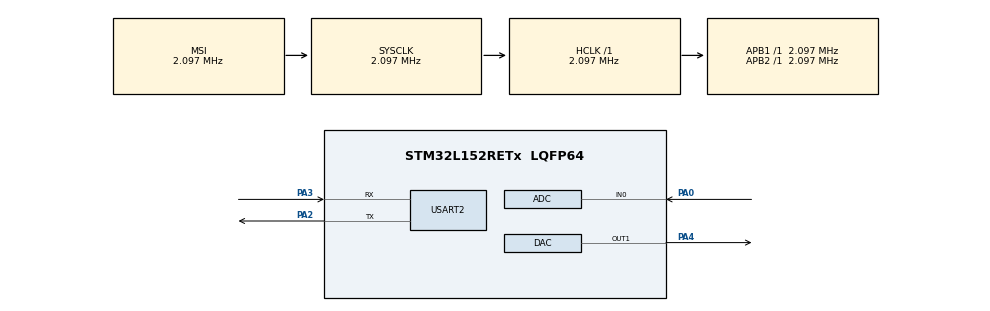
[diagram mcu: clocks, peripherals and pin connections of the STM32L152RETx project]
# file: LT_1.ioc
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ADC.Channel-0\#ChannelRegularConversion=ADC_CHANNEL_0
ADC.ClockPrescaler=ADC_CLOCK_ASYNC_DIV4
ADC.EOCSelection=ADC_EOC_SINGLE_CONV
ADC.NbrOfConversionFlag=1
ADC.Rank-0\#ChannelRegularConversion=1
ADC.Resolution=ADC_RESOLUTION_8B
ADC.SamplingTime-0\#ChannelRegularConversion=ADC_SAMPLETIME_24CYCLES
Mcu.Family=STM32L1
Mcu.Name=STM32L152RETx
Mcu.Package=LQFP64
NVIC.PriorityGroup=NVIC_PRIORITYGROUP_4
PA0-WKUP1.Mode=IN0
PA0-WKUP1.Signal=ADC_IN0
PA2.Mode=Asynchronous
PA2.Signal=USART2_TX
PA3.Mode=Asynchronous
PA3.Signal=USART2_RX
PA4.Signal=COMP_DAC1_group
ProjectManager.HeapSize=0x200
ProjectManager.StackSize=0x400
ProjectManager.TargetToolchain=MDK-ARM V5.27
RCC.AHBFreq_Value=2097000
RCC.APB1Freq_Value=2097000
RCC.APB2Freq_Value=2097000
RCC.HSE_VALUE=24000000
RCC.HSI_VALUE=16000000
RCC.LSE_VALUE=32768
RCC.MSI_VALUE=2097000
RCC.SYSCLKFreq_VALUE=2097000
RCC.VCOOutputFreq_Value=48000000
SH.COMP_DAC1_group.0=DAC_OUT1,DAC_OUT1
USART2.VirtualMode=VM_ASYNC
board=custom

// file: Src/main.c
/* USER CODE BEGIN Header */
/**
  ******************************************************************************
  * @file           : main.c
  * @brief          : Main program body
  ******************************************************************************
  * @attention
  *
  * <h2><center>&copy; Copyright (c) 2020 STMicroelectronics.
  * All rights reserved.</center></h2>
  *
  * This software component is licensed by ST under BSD 3-Clause license,
  * the "License"; You may not use this file except in compliance with the
  * License. You may obtain a copy of the License at:
  *                        opensource.org/licenses/BSD-3-Clause
  *
  ******************************************************************************
  */
/* USER CODE END Header */

#include "main.h"

/* USER CODE BEGIN Includes */
#include <stdio.h>
/* USER CODE END Includes */

ADC_HandleTypeDef hadc;

DAC_HandleTypeDef hdac;

UART_HandleTypeDef huart2;

void SystemClock_Config(void);
static void MX_GPIO_Init(void);
static void MX_ADC_Init(void);
static void MX_USART2_UART_Init(void);
static void MX_DAC_Init(void);
/* USER CODE BEGIN PFP */
char Msg1[70] = {0};
/* USER CODE END PFP */

/* USER CODE BEGIN 0 */
uint32_t adcVal0;
float adcVal1;
uint8_t dac;
uint32_t deltaV;
/* USER CODE END 0 */

int main(void)
{
  /* USER CODE BEGIN 1 */
	deltaV = 3.0;
  /* USER CODE END 1 */

  /* MCU Configuration--------------------------------------------------------*/

  /* Reset of all peripherals, Initializes the Flash interface and the Systick. */
  HAL_Init();

  /* Configure the system clock */
  SystemClock_Config();

  /* Initialize all configured peripherals */
  MX_GPIO_Init();
  MX_ADC_Init();
  MX_USART2_UART_Init();
  MX_DAC_Init();

  /* Infinite loop */
  while (1)
  {

    /* USER CODE BEGIN 3 */
		HAL_ADC_Start(&hadc);
		HAL_DAC_Start(&hdac, DAC_CHANNEL_1);

		if( HAL_ADC_PollForConversion(&hadc,5) == HAL_OK){
			adcVal0 = HAL_ADC_GetValue(&hadc);
		}

		/*
		Assuming output range is from 0 to 3.3 volts
		output = output_start + ((output_end - output_start) / (input_end - input_start)) * (input - input_start)
		*/

		adcVal1 = ((3.3 * (float)adcVal0) / 255) + deltaV;
		if(adcVal1 > 3.3){
			adcVal1 = 3.3;
		}
		//snprintf((char *)Msg1, sizeof(Msg1), "\r\nADC Value: %lf\r\n",  adcVal1);
		//HAL_UART_Transmit(&huart2, (uint8_t *) Msg1, sizeof(Msg1), 1);
		//HAL_DAC_SetValue(&hdac, DAC_CHANNEL_1, DAC_ALIGN_8B_R, adcVal1);
		//convert back from float to uint8_t
		dac = (uint16_t) (adcVal1 * 255) / 3.3;
		HAL_DAC_SetValue(&hdac, DAC_CHANNEL_1, DAC_ALIGN_8B_R, dac);

		//HAL_Delay(50);
  }
  /* USER CODE END 3 */
}

void SystemClock_Config(void)
{
  RCC_OscInitTypeDef RCC_OscInitStruct = {0};
  RCC_ClkInitTypeDef RCC_ClkInitStruct = {0};

  /** Configure the main internal regulator output voltage
  */
  __HAL_PWR_VOLTAGESCALING_CONFIG(PWR_REGULATOR_VOLTAGE_SCALE1);
  /** Initializes the CPU, AHB and APB busses clocks
  */
  RCC_OscInitStruct.OscillatorType = RCC_OSCILLATORTYPE_HSI|RCC_OSCILLATORTYPE_MSI;
  RCC_OscInitStruct.HSIState = RCC_HSI_ON;
  RCC_OscInitStruct.HSICalibrationValue = RCC_HSICALIBRATION_DEFAULT;
  RCC_OscInitStruct.MSIState = RCC_MSI_ON;
  RCC_OscInitStruct.MSICalibrationValue = 0;
  RCC_OscInitStruct.MSIClockRange = RCC_MSIRANGE_5;
  RCC_OscInitStruct.PLL.PLLState = RCC_PLL_NONE;
  if (HAL_RCC_OscConfig(&RCC_OscInitStruct) != HAL_OK)
  {
    Error_Handler();
  }
  /** Initializes the CPU, AHB and APB busses clocks
  */
  RCC_ClkInitStruct.ClockType = RCC_CLOCKTYPE_HCLK|RCC_CLOCKTYPE_SYSCLK
                              |RCC_CLOCKTYPE_PCLK1|RCC_CLOCKTYPE_PCLK2;
  RCC_ClkInitStruct.SYSCLKSource = RCC_SYSCLKSOURCE_MSI;
  RCC_ClkInitStruct.AHBCLKDivider = RCC_SYSCLK_DIV1;
  RCC_ClkInitStruct.APB1CLKDivider = RCC_HCLK_DIV1;
  RCC_ClkInitStruct.APB2CLKDivider = RCC_HCLK_DIV1;

  if (HAL_RCC_ClockConfig(&RCC_ClkInitStruct, FLASH_LATENCY_0) != HAL_OK)
  {
    Error_Handler();
  }
}

static void MX_ADC_Init(void)
{

  ADC_ChannelConfTypeDef sConfig = {0};

  /** Configure the global features of the ADC (Clock, Resolution, Data Alignment and number of conversion)
  */
  hadc.Instance = ADC1;
  hadc.Init.ClockPrescaler = ADC_CLOCK_ASYNC_DIV4;
  hadc.Init.Resolution = ADC_RESOLUTION_8B;
  hadc.Init.DataAlign = ADC_DATAALIGN_RIGHT;
  hadc.Init.ScanConvMode = ADC_SCAN_DISABLE;
  hadc.Init.EOCSelection = ADC_EOC_SINGLE_CONV;
  hadc.Init.LowPowerAutoWait = ADC_AUTOWAIT_DISABLE;
  hadc.Init.LowPowerAutoPowerOff = ADC_AUTOPOWEROFF_DISABLE;
  hadc.Init.ChannelsBank = ADC_CHANNELS_BANK_A;
  hadc.Init.ContinuousConvMode = DISABLE;
  hadc.Init.NbrOfConversion = 1;
  hadc.Init.DiscontinuousConvMode = DISABLE;
  hadc.Init.ExternalTrigConv = ADC_SOFTWARE_START;
  hadc.Init.ExternalTrigConvEdge = ADC_EXTERNALTRIGCONVEDGE_NONE;
  hadc.Init.DMAContinuousRequests = DISABLE;
  if (HAL_ADC_Init(&hadc) != HAL_OK)
  {
    Error_Handler();
  }
  /** Configure for the selected ADC regular channel its corresponding rank in the sequencer and its sample time.
  */
  sConfig.Channel = ADC_CHANNEL_0;
  sConfig.Rank = ADC_REGULAR_RANK_1;
  sConfig.SamplingTime = ADC_SAMPLETIME_24CYCLES;
  if (HAL_ADC_ConfigChannel(&hadc, &sConfig) != HAL_OK)
  {
    Error_Handler();
  }

}

static void MX_DAC_Init(void)
{

  DAC_ChannelConfTypeDef sConfig = {0};

  /** DAC Initialization
  */
  hdac.Instance = DAC;
  if (HAL_DAC_Init(&hdac) != HAL_OK)
  {
    Error_Handler();
  }
  /** DAC channel OUT1 config
  */
  sConfig.DAC_Trigger = DAC_TRIGGER_NONE;
  sConfig.DAC_OutputBuffer = DAC_OUTPUTBUFFER_ENABLE;
  if (HAL_DAC_ConfigChannel(&hdac, &sConfig, DAC_CHANNEL_1) != HAL_OK)
  {
    Error_Handler();
  }

}

static void MX_USART2_UART_Init(void)
{

  huart2.Instance = USART2;
  huart2.Init.BaudRate = 115200;
  huart2.Init.WordLength = UART_WORDLENGTH_8B;
  huart2.Init.StopBits = UART_STOPBITS_1;
  huart2.Init.Parity = UART_PARITY_NONE;
  huart2.Init.Mode = UART_MODE_TX_RX;
  huart2.Init.HwFlowCtl = UART_HWCONTROL_NONE;
  huart2.Init.OverSampling = UART_OVERSAMPLING_16;
  if (HAL_UART_Init(&huart2) != HAL_OK)
  {
    Error_Handler();
  }

}

static void MX_GPIO_Init(void)
{

  /* GPIO Ports Clock Enable */
  __HAL_RCC_GPIOA_CLK_ENABLE();

}

void Error_Handler(void)
{
}

/************************ (C) COPYRIGHT STMicroelectronics *****END OF FILE****/
